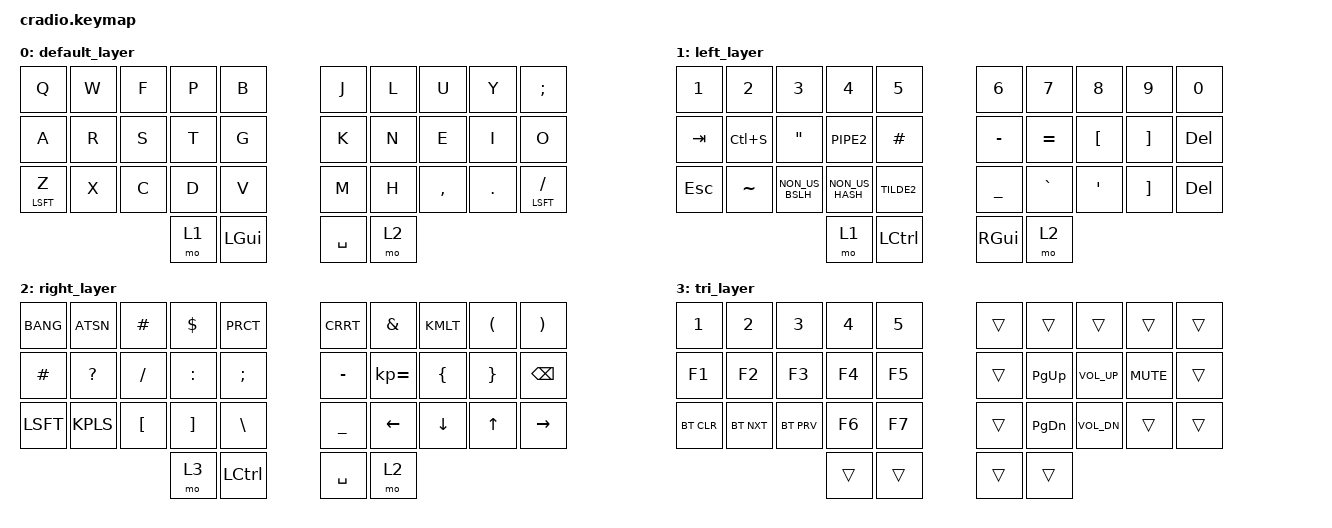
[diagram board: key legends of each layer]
/*
 * Copyright (c) 2020 The ZMK Contributors
 *
 * SPDX-License-Identifier: MIT
 */

#include <behaviors.dtsi>
#include <dt-bindings/zmk/keys.h>
#include <dt-bindings/zmk/bt.h>


&mt {
  //  flavor = "tap-preferred";
   // tapping_term_ms = <200>;
};

/ { 

    combos {
        compatible = "zmk,combos";
        combo_esc {
            timeout-ms = <50>;
            key-positions = <0 1>;
            bindings = <&kp ESC>;
        };
        
         combo_tab {
            timeout-ms = <50>;
            key-positions = <10 11>;
            bindings = <&kp TAB>;
        };
        
        combo_ralt {
            timeout-ms = <50>;
            key-positions = <17 16>;
            bindings = <&kp RALT>;
        };
        
        combo_lalt {
            timeout-ms = <50>;
            key-positions = <11 12>;
            bindings = <&kp LALT>;
        };
        
        combo_lgui {
            timeout-ms = <50>;
            key-positions = <12 13>;
            bindings = <&kp LGUI>;
        };
        
        
        combo_rgui {
            timeout-ms = <50>;
            key-positions = <17 18>;
            bindings = <&kp RGUI>;
        };
    };

        conditional_layers {
            compatible = "zmk,conditional-layers";
            tri_layer {
                if-layers = <1 2>;
                then-layer = <3>;
            };
        };

        keymap {
                compatible = "zmk,keymap";
                
       	default_layer {
		    bindings = <
            &kp Q &kp W &kp F &kp P &kp B 						&kp J &kp L  &kp U    &kp Y   &kp SEMI 
            &kp A &kp R &kp S &kp T &kp G 			        	        &kp K &kp N &kp E &kp I &kp O
            &mt LSFT Z &kp X &kp C &kp D &kp V				        &kp M &kp H  &kp CMMA &kp DOT &mt LSFT FSLH
                            &mo 1 &kp LGUI  				&kp SPC &mo 2 
            >;
		};

       	left_layer {
            bindings = <
            &kp NUM_1  &kp NUM_2    &kp NUM_3    &kp NUM_4    &kp NUM_5		&kp NUM_6 &kp NUM_7 &kp NUM_8 &kp NUM_9 &kp NUM_0 
            &kp TAB    &kp LC(S)    &kp DQT      &kp PIPE2     &kp HASH 		&kp MINUS &kp EQL  &kp LBKT &kp RBKT  &kp DEL 
            &kp ESC    &kp TILDE 	&kp NON_US_BSLH &kp NON_US_HASH  &kp TILDE2 	&kp UNDER &kp GRAVE &kp SQT &kp RBKT  &kp DEL 
                            &mo 1  &kp LCTL  					&kp RGUI &mo 2 
            >;
		};
		
		right_layer {
            bindings = <
            &kp BANG  &kp ATSN &kp HASH  &kp DLLR  &kp PRCT    			&kp CRRT  &kp AMPS &kp KMLT &kp LPRN &kp RPRN 
            &kp HASH  &kp QMARK  &kp FSLH  &kp COLN  &kp SCLN 			&kp MINUS &kp KP_EQUAL  &kp LBRC  &kp RBRC   &kp BKSP
            &kp LSFT  &kp KPLS &kp LBKT &kp RBKT   &kp BSLH    			&kp UNDER &kp LEFT &kp DOWN &kp UP  &kp RIGHT
                        &mo 3 &kp LCTL  				&kp SPC  &mo 2 
            >;
		};	
		
		tri_layer {
            bindings = <
            &kp NUM_1  &kp NUM_2    &kp NUM_3    &kp NUM_4    &kp NUM_5 			&trans &trans   &trans   &trans  &trans
            &kp F1 &kp F2 &kp F3 &kp F4 &kp F5  						&trans &kp PG_UP  &kp K_VOL_UP &kp K_MUTE &trans 
            &bt BT_CLR  &bt BT_NXT &bt BT_PRV &kp F6 &kp F7   				&trans &kp PG_DN  &kp K_VOL_DN  &trans &trans   
                        &trans &trans  					&trans &trans 
            >;
		};	
        
	};
};
